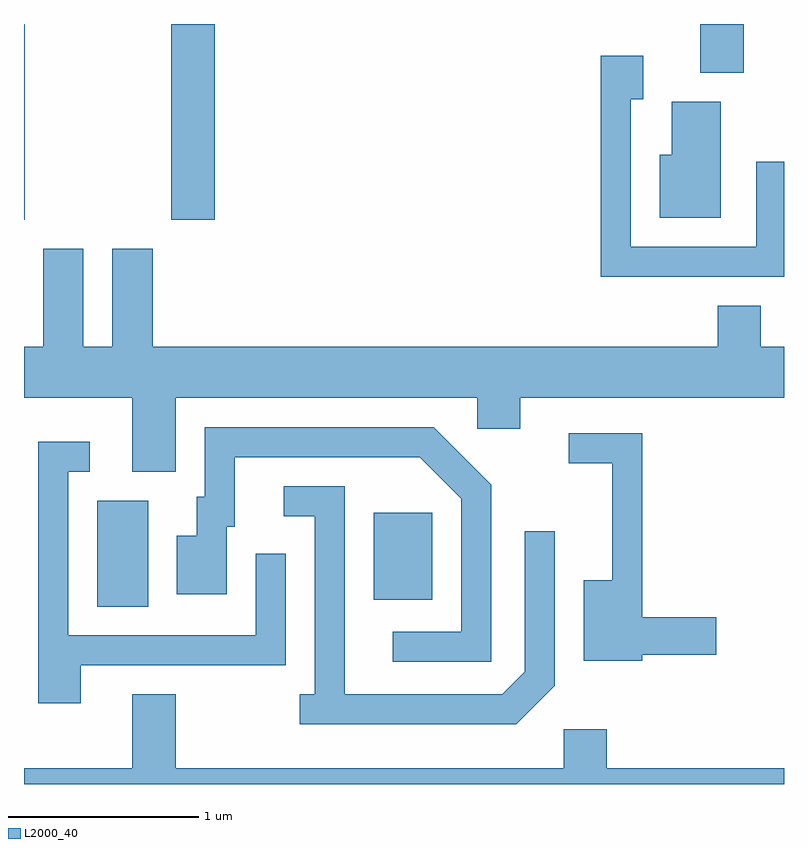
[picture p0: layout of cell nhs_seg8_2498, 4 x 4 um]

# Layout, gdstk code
import gdstk
lib = gdstk.Library(unit=1e-6, precision=1e-09)
def R(c, l, rs):  # rectangles x0, y0, x1, y1
    for r in rs: c.add(gdstk.rectangle(r[:2], r[2:], *l))
def P(c, l, *ps):  # polygons
    for p in ps: c.add(gdstk.Polygon(p, *l))
L2000_40 = (2000, 40)

nhs_seg8_2498 = lib.new_cell('nhs_seg8_2498')
R(nhs_seg8_2498, L2000_40, [(259.996,1875.276,260.264,1875.834), (261.451,1875.311,261.759,1875.769), (259.611,1877.311,259.614,1878.342), (260.386,1877.311,260.614,1878.342), (263.171,1878.086,263.399,1878.342)])
P(nhs_seg8_2498, L2000_40, [(263.611,1877.618),(263.466,1877.618),(263.466,1877.169),(262.804,1877.169),(262.804,1877.946),(262.869,1877.946),(262.869,1878.174),(262.646,1878.174),(262.646,1877.011),(263.611,1877.011)],
  [(263.279,1877.934),(263.021,1877.934),(263.021,1877.654),(262.956,1877.654),(262.956,1877.321),(263.279,1877.321)],
  [(260.409,1876.376),(261.996,1876.376),(261.996,1876.211),(262.224,1876.211),(262.224,1876.376),(263.611,1876.376),(263.611,1876.644),(263.489,1876.644),(263.489,1876.859),(263.261,1876.859),(263.261,1876.644),(260.289,1876.644),(260.289,1877.159),(260.076,1877.159),(260.076,1876.644),(259.924,1876.644),(259.924,1877.159),(259.711,1877.159),(259.711,1876.644),(259.611,1876.644),(259.611,1876.376),(260.181,1876.376),(260.181,1875.986),(260.409,1875.986)],
  [(262.069,1875.917),(261.767,1876.219),(260.561,1876.219),(260.561,1875.854),(260.521,1875.854),(260.521,1875.649),(260.416,1875.649),(260.416,1875.341),(260.679,1875.341),(260.679,1875.696),(260.719,1875.696),(260.719,1876.061),(261.694,1876.061),(261.911,1875.844),(261.911,1875.144),(261.553,1875.144),(261.553,1874.986),(262.069,1874.986)],
  [(262.864,1875.021),(263.254,1875.021),(263.254,1875.219),(262.864,1875.219),(262.864,1876.189),(262.478,1876.189),(262.478,1876.031),(262.706,1876.031),(262.706,1875.414),(262.556,1875.414),(262.556,1874.991),(262.864,1874.991)],
  [(259.909,1874.966),(260.989,1874.966),(260.989,1875.553),(260.831,1875.553),(260.831,1875.124),(259.844,1875.124),(259.844,1875.986),(259.957,1875.986),(259.957,1876.144),(259.686,1876.144),(259.686,1874.766),(259.909,1874.766)],
  [(262.404,1874.859),(262.404,1875.673),(262.246,1875.673),(262.246,1874.932),(262.129,1874.814),(261.299,1874.814),(261.299,1875.909),(260.978,1875.909),(260.978,1875.751),(261.141,1875.751),(261.141,1874.814),(261.063,1874.814),(261.063,1874.656),(262.202,1874.656)],
  [(263.611,1874.424),(262.679,1874.424),(262.679,1874.629),(262.451,1874.629),(262.451,1874.424),(260.409,1874.424),(260.409,1874.814),(260.181,1874.814),(260.181,1874.424),(259.611,1874.424),(259.611,1874.342),(263.611,1874.342)])

lib.write_gds('nhs_seg8_2498.gds')
